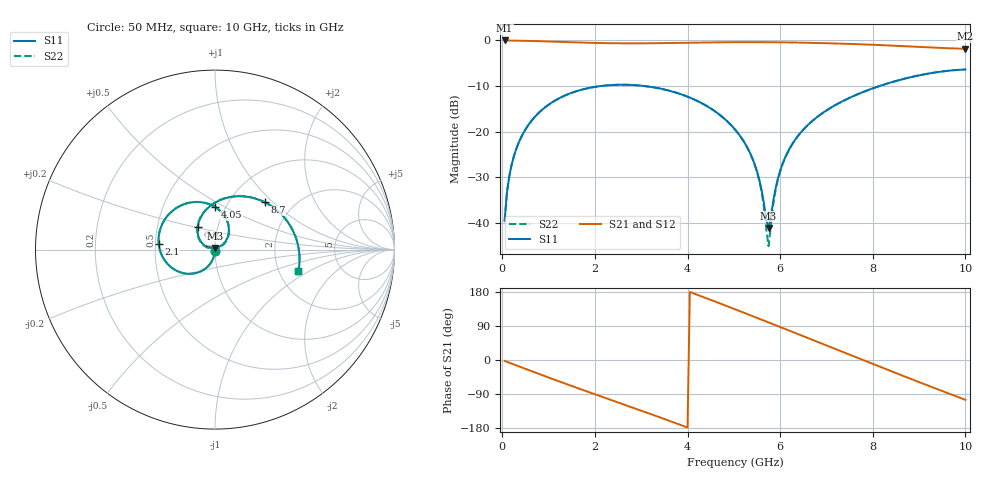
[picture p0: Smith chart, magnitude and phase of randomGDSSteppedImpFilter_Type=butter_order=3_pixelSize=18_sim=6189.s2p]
! freq	dB(S11)	phase(S11)	dB(S12)	phase(S12)
!  dB(S21)	phase(S21)	dB(S22)	phase(S22)
!S-par simulation data
#  GHz  S  DB  R 50
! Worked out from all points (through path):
!   200 points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, 50 MHz to 10 GHz, reference 50 ohm
!   highest |S21| = 0.00 dB at 50 MHz (marker M1); lowest = -1.8 dB at 10 GHz (marker M2)
!   group delay of S21, straight-line fit = 129 ps
!   lowest |S11| = -41.2 dB at 5.75 GHz (marker M3), VSWR 1.02, Z = 49.8 + j0.854 ohm
!   |S11| at or under -10 dB: start of sweep to 2.133 GHz; 3.064 GHz to 8.148 GHz (5.084 GHz wide, 90.7 % of centre)
!   |S22| runs from -45.2 to -6.4 dB; largest |S21 - S12| = 0
!   S11 on the Smith chart (normalised r, x): 50 MHz: 1.00, -0.02; 2.1 GHz: 0.52, +0.03; 4.05 GHz: 0.90, +0.45; 6.9 GHz: 0.80, +0.20; 8.7 GHz: 1.44, +0.89; 10 GHz: 2.55, -0.80
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0.05  -39.62 -93.7  -0.00 -2.4  -0.00 -2.4  -39.62 -93.8
0.1  -33.44 -96.0  -0.01 -4.8  -0.01 -4.8  -33.44 -96.0
0.2  -27.36 -100.2  -0.03 -9.4  -0.03 -9.4  -27.36 -100.2
0.5  -19.54 -113.9  -0.08 -23.4  -0.08 -23.4  -19.54 -113.9
1.15  -13.13 -143.6  -0.28 -53.0  -0.28 -53.0  -13.13 -143.7
1.75  -10.72 -170.2  -0.48 -79.6  -0.48 -79.6  -10.72 -170.3
2.1  -10.04 174.6  -0.57 -94.7  -0.57 -94.7  -10.04 174.4
3.4  -10.55 118.3  -0.60 -151.3  -0.60 -151.3  -10.55 118.0
4.05  -12.55 89.5  -0.50 179.5  -0.50 179.5  -12.55 89.0
5.05  -19.85 45.4  -0.38 132.8  -0.38 132.8  -19.86 43.8
5.5  -28.74 32.6  -0.37 111.2  -0.37 111.2  -28.86 27.6
5.6  -32.89 36.4  -0.38 106.4  -0.38 106.4  -33.24 28.4
5.75  -41.17 101.3  -0.39 99.2  -0.39 99.2  -45.16 102.9
5.9  -32.51 158.2  -0.40 91.9  -0.40 91.9  -32.94 166.1
6.05  -27.13 161.1  -0.42 84.7  -0.42 84.7  -27.26 165.4
6.7  -17.62 137.0  -0.53 53.1  -0.53 53.1  -17.64 138.5
6.9  -16.05 127.9  -0.58 43.4  -0.58 43.4  -16.06 129.1
7.6  -12.13 95.1  -0.79 9.3  -0.79 9.3  -12.14 95.9
8.35  -9.34 60.0  -1.10 -27.2  -1.10 -27.2  -9.35 60.5
8.7  -8.36 43.8  -1.27 -44.0  -1.27 -44.0  -8.36 44.2
9.35  -7.02 14.2  -1.59 -74.9  -1.59 -74.9  -7.02 14.5
10  -6.38 -14.6  -1.83 -105.2  -1.83 -105.2  -6.38 -14.3
